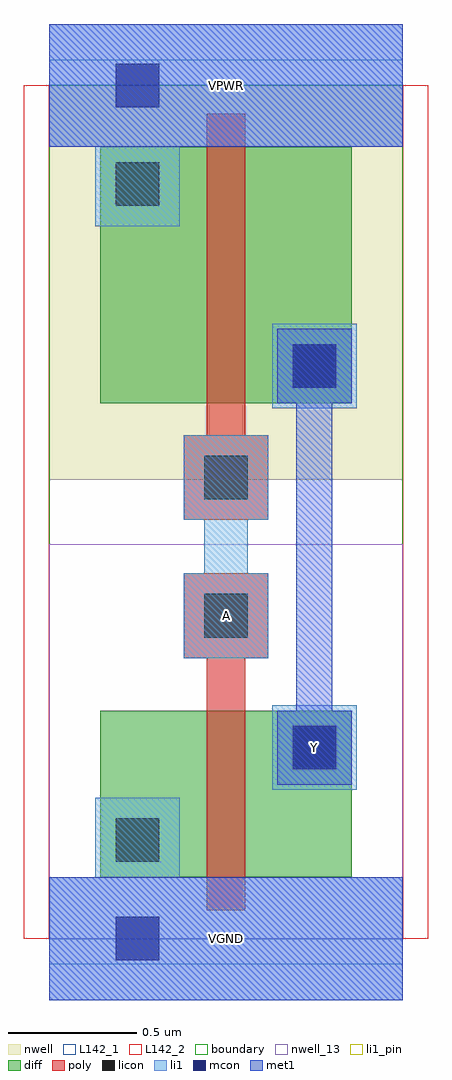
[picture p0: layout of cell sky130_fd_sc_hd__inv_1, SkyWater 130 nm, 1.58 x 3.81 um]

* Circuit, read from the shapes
.subckt sky130_fd_sc_hd__inv_1 A VGND VPWR Y
XM1 Y A VGND VSUBS sky130_fd_pr__nfet_01v8 w=0.65 l=0.15
XM2 Y A VPWR n1 sky130_fd_pr__pfet_01v8 w=1 l=0.15
.ends

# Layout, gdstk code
import gdstk
lib = gdstk.Library(unit=1e-6, precision=1e-09)
def R(c, l, rs):  # rectangles x0, y0, x1, y1
    for r in rs: c.add(gdstk.rectangle(r[:2], r[2:], *l))
def P(c, l, *ps):  # polygons
    for p in ps: c.add(gdstk.Polygon(p, *l))
nwell_13 = (64, 13)
nwell = (64, 20)
diff = (65, 20)
poly = (66, 20)
licon = (66, 44)
li1_pin = (67, 16)
li1 = (67, 20)
mcon = (67, 44)
met1 = (68, 20)
L142_1 = (142, 1)
L142_2 = (142, 2)
boundary = (235, 4)

sky130_fd_sc_hd__inv_1 = lib.new_cell('sky130_fd_sc_hd__inv_1')
R(sky130_fd_sc_hd__inv_1, nwell_13, [(0,0,1.38,1.54)])
R(sky130_fd_sc_hd__inv_1, nwell, [(0,1.79,1.38,3.33)])
R(sky130_fd_sc_hd__inv_1, diff, [(0.2,0.24,1.18,0.89), (0.2,0.24,0.615,0.89), (0.615,0.24,1.18,0.89), (0.2,2.09,1.18,3.09), (0.2,2.09,0.615,3.09), (0.615,2.09,1.18,3.09)])
P(sky130_fd_sc_hd__inv_1, poly, [(0.615,0.11),(0.615,1.095),(0.525,1.095),(0.525,1.425),(0.855,1.425),(0.855,1.095),(0.765,1.095),(0.765,0.11)],
  [(0.525,1.635),(0.525,1.965),(0.615,1.965),(0.615,3.22),(0.765,3.22),(0.765,1.965),(0.855,1.965),(0.855,1.635)])
R(sky130_fd_sc_hd__inv_1, licon, [(0.26,0.3,0.43,0.47), (0.95,0.66,1.12,0.83), (0.605,1.175,0.775,1.345), (0.605,1.715,0.775,1.885), (0.95,2.15,1.12,2.32), (0.26,2.86,0.43,3.03)])
R(sky130_fd_sc_hd__inv_1, li1_pin, [(0,-0.24,1.38,0.24), (0.87,0.58,1.2,0.91), (0,3.09,1.38,3.57)])
P(sky130_fd_sc_hd__inv_1, li1_pin, [(0.525,1.095),(0.525,1.425),(0.605,1.425),(0.605,1.635),(0.525,1.635),(0.525,1.965),(0.855,1.965),(0.855,1.635),(0.775,1.635),(0.775,1.425),(0.855,1.425),(0.855,1.095)])
R(sky130_fd_sc_hd__inv_1, li1, [(0.87,0.58,1.2,0.91), (0.87,2.07,1.2,2.4)])
P(sky130_fd_sc_hd__inv_1, li1, [(0.18,2.78),(0.18,3.09),(0,3.09),(0,3.57),(1.38,3.57),(1.38,3.09),(0.51,3.09),(0.51,2.78)],
  [(0,-0.24),(0,0.24),(0.18,0.24),(0.18,0.55),(0.51,0.55),(0.51,0.24),(1.38,0.24),(1.38,-0.24)],
  [(0.525,1.095),(0.525,1.425),(0.605,1.425),(0.605,1.635),(0.525,1.635),(0.525,1.965),(0.855,1.965),(0.855,1.635),(0.775,1.635),(0.775,1.425),(0.855,1.425),(0.855,1.095)])
R(sky130_fd_sc_hd__inv_1, mcon, [(0.26,-0.085,0.43,0.085), (0.95,0.66,1.12,0.83), (0.95,2.15,1.12,2.32), (0.26,3.245,0.43,3.415)])
R(sky130_fd_sc_hd__inv_1, met1, [(0,-0.24,1.38,0.24), (0,3.09,1.38,3.57)])
P(sky130_fd_sc_hd__inv_1, met1, [(0.89,0.6),(0.89,0.89),(0.965,0.89),(0.965,2.09),(0.89,2.09),(0.89,2.38),(1.18,2.38),(1.18,2.09),(1.105,2.09),(1.105,0.89),(1.18,0.89),(1.18,0.6)])
R(sky130_fd_sc_hd__inv_1, L142_1, [(0,-0.1,1.38,0), (0,3.33,1.38,3.43)])
R(sky130_fd_sc_hd__inv_1, L142_2, [(-0.1,0,0,3.33), (1.38,0,1.48,3.33)])
R(sky130_fd_sc_hd__inv_1, boundary, [(0,0,1.38,3.33)])
sky130_fd_sc_hd__inv_1.add(gdstk.Label('Y', (1.035,0.745), layer=67, texttype=5))
sky130_fd_sc_hd__inv_1.add(gdstk.Label('A', (0.69,1.26), layer=67, texttype=5))
sky130_fd_sc_hd__inv_1.add(gdstk.Label('VGND', (0.69,0), layer=67, texttype=5))
sky130_fd_sc_hd__inv_1.add(gdstk.Label('VPWR', (0.69,3.33), layer=67, texttype=5))
sky130_fd_sc_hd__inv_1.add(gdstk.Label('VGND', (0.69,0), layer=68, texttype=5))
sky130_fd_sc_hd__inv_1.add(gdstk.Label('VPWR', (0.69,3.33), layer=68, texttype=5))

lib.write_gds('sky130_fd_sc_hd__inv_1.gds')
